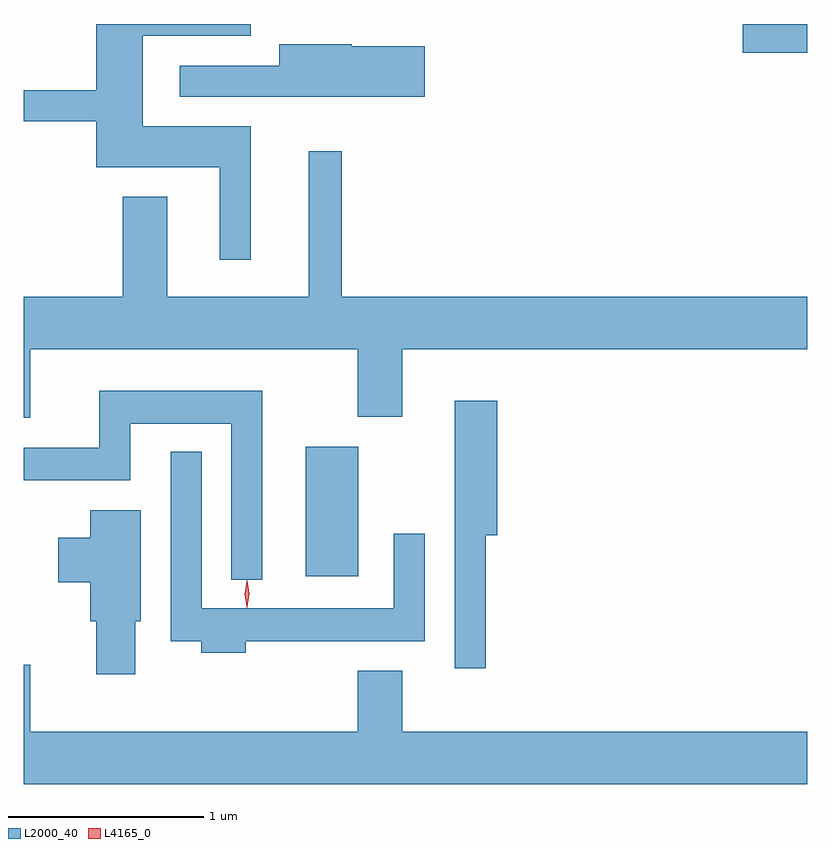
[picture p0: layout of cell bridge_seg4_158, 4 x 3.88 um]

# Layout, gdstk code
import gdstk
lib = gdstk.Library(unit=1e-6, precision=1e-09)
def R(c, l, rs):  # rectangles x0, y0, x1, y1
    for r in rs: c.add(gdstk.rectangle(r[:2], r[2:], *l))
def P(c, l, *ps):  # polygons
    for p in ps: c.add(gdstk.Polygon(p, *l))
L2000_40 = (2000, 40)
L4165_0 = (4165, 0)

bridge_seg4_158 = lib.new_cell('bridge_seg4_158')
R(bridge_seg4_158, L2000_40, [(869.786,1278.036,870.054,1278.699), (872.016,1280.711,872.346,1280.857)])
P(bridge_seg4_158, L2000_40, [(869.504,1280.334),(868.954,1280.334),(868.954,1280.796),(869.504,1280.796),(869.504,1280.857),(868.716,1280.857),(868.716,1280.519),(868.346,1280.519),(868.346,1280.361),(868.716,1280.361),(868.716,1280.126),(869.346,1280.126),(869.346,1279.653),(869.504,1279.653)],
  [(870.394,1280.744),(870.02,1280.744),(870.02,1280.754),(869.651,1280.754),(869.651,1280.644),(869.143,1280.644),(869.143,1280.486),(870.394,1280.486)],
  [(868.379,1279.196),(870.051,1279.196),(870.051,1278.851),(870.279,1278.851),(870.279,1279.196),(872.346,1279.196),(872.346,1279.464),(869.969,1279.464),(869.969,1280.208),(869.801,1280.208),(869.801,1279.464),(869.079,1279.464),(869.079,1279.974),(868.851,1279.974),(868.851,1279.464),(868.346,1279.464),(868.346,1278.846),(868.379,1278.846)],
  [(869.564,1278.984),(868.731,1278.984),(868.731,1278.694),(868.346,1278.694),(868.346,1278.526),(868.889,1278.526),(868.889,1278.816),(869.406,1278.816),(869.406,1278.018),(869.564,1278.018)],
  [(870.704,1278.246),(870.764,1278.246),(870.764,1278.934),(870.546,1278.934),(870.546,1277.568),(870.704,1277.568)],
  [(869.479,1277.706),(870.394,1277.706),(870.394,1278.253),(870.236,1278.253),(870.236,1277.874),(869.254,1277.874),(869.254,1278.673),(869.096,1278.673),(869.096,1277.706),(869.251,1277.706),(869.251,1277.646),(869.479,1277.646)],
  [(868.914,1277.806),(868.944,1277.806),(868.944,1278.374),(868.686,1278.374),(868.686,1278.234),(868.521,1278.234),(868.521,1278.006),(868.686,1278.006),(868.686,1277.806),(868.716,1277.806),(868.716,1277.536),(868.914,1277.536)],
  [(872.346,1277.244),(870.279,1277.244),(870.279,1277.554),(870.051,1277.554),(870.051,1277.244),(868.379,1277.244),(868.379,1277.584),(868.346,1277.584),(868.346,1276.976),(872.346,1276.976)])
P(bridge_seg4_158, L4165_0, [(869.485,1277.879),(869.485,1277.88),(869.475,1277.946),(869.485,1278.012),(869.485,1278.013),(869.486,1278.012),(869.495,1277.946),(869.486,1277.88)],
  [(869.487,1277.877),(869.486,1277.878),(869.477,1277.947),(869.486,1278.016),(869.487,1278.016),(869.488,1278.016),(869.497,1277.947),(869.488,1277.878)])

lib.write_gds('bridge_seg4_158.gds')
